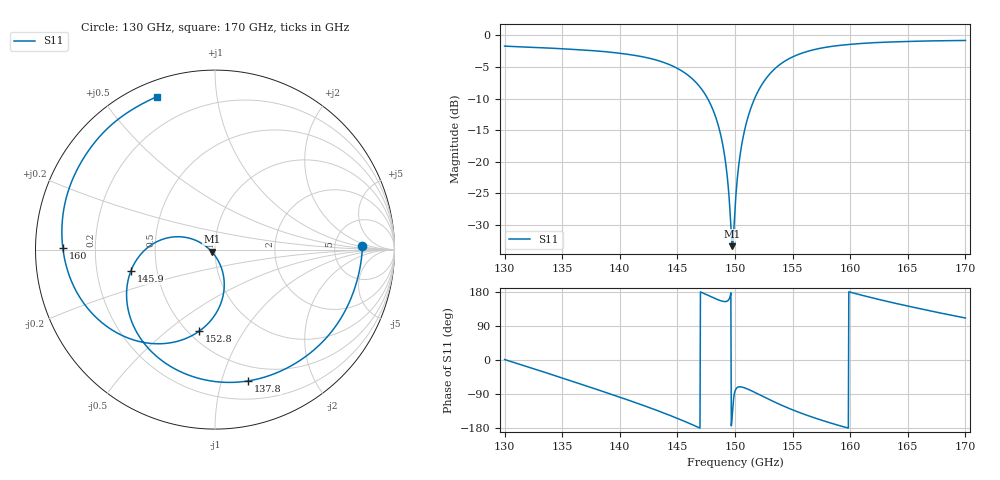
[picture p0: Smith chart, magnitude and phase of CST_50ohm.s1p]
! TOUCHSTONE file generated by CST MICROWAVE STUDIO
! Date and time: Thu Nov 19 02:43:52 2026
! Project name: Final50.cst
! Parameters = {array_spacing=1.2; eps_r=3.5; feed_width=0.09; ground_length=1.5; ground_width=2.5; inset_gap=0.02; inset_length=0.165; junction_y=-0.53; launch_length=0.5; loss_tangent=0.0027; mesh_box=54; mesh_near=36; metal_thickness=0.002; patch_length=0.513; patch_width=0.667; port_halfwidth=0.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
! Header version: 2024
! Port assignment regex: !\s*Touchstone port\s*([0-9]+)\s*=\s*(CST MWS port|CST DES external port|CST DES block port)\s*(.+)\s* \(\"(.*)\"\)(\s*mode\s*([0-9]+))?.*
! Touchstone port assignment:
! Touchstone port 1 = CST MWS port 1 ("50ohm_microstrip")
# GHz S RI R 50
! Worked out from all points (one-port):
!   1001 points, 130 GHz to 170 GHz, reference 50 ohm
!   lowest |S11| = -33.3 dB at 149.8 GHz (marker M1), VSWR 1.04, Z = 48.2 - j1.17 ohm
!   |S11| at or under -10 dB: 147.6 GHz to 151.7 GHz (4.076 GHz wide, 2.72 % of centre)
!   S11 on the Smith chart (normalised r, x): 130 GHz: 10, +1; 137.8 GHz: 0.36, -1.22; 145.9 GHz: 0.35, -0.11; 152.8 GHz: 0.56, -0.65; 160 GHz: 0.08, +0.01; 170 GHz: 0.07, +0.69
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130  0.8215 0.0178
132.48  0.7414 -0.3084
135  0.5287 -0.5776
137.84  0.1829 -0.7319
140  -0.1026 -0.714
142.84  -0.4063 -0.5071
145  -0.4926 -0.2397
145.92  -0.469 -0.1195
147.44  -0.336 0.0377
148.52  -0.1848 0.0708
149.16  -0.0921 0.0445
149.36  -0.0654 0.0289
149.64  -0.0311 0.00153
149.76  -0.0178 -0.0121
149.88  -0.00547 -0.0267
150  0.00584 -0.0423
150.36  0.0328 -0.0942
150.92  0.0514 -0.1851
151.72  0.0251 -0.3181
152.76  -0.0893 -0.4553
153.84  -0.2605 -0.521
155  -0.448 -0.5051
157.44  -0.7343 -0.2946
159.96  -0.848 0.0104
160  -0.8486 0.0153
162.32  -0.8295 0.2852
165  -0.7082 0.5462
170  -0.3241 0.8515
